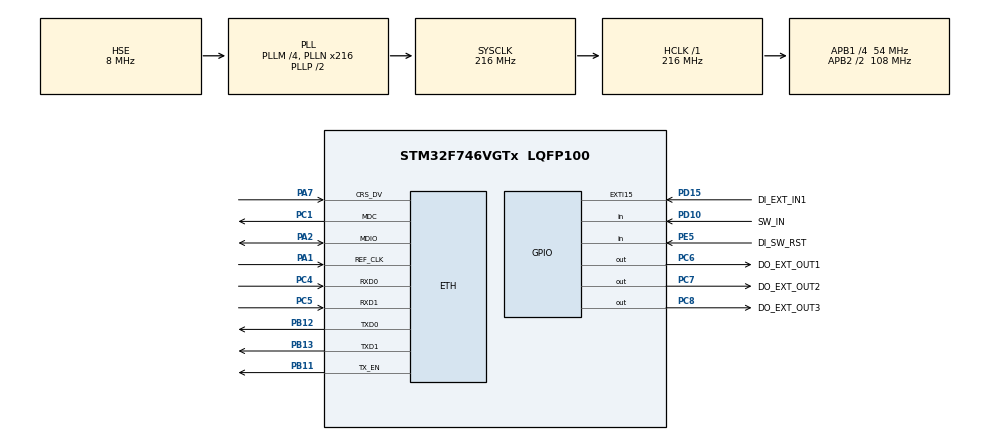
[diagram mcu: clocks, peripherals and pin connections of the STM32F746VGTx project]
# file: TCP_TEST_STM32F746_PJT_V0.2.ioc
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CORTEX_M7.default_mode_Activation=1
ETH.MediaInterface=HAL_ETH_RMII_MODE
FREERTOS.Tasks01=defaultTask,24,256,StartDefaultTask,Default,NULL,Dynamic,NULL,NULL;ETH_TASK,8,256,TCP_RX_DATA_TASK,As external,NULL,Dynamic,NULL,NULL
FREERTOS.configTOTAL_HEAP_SIZE=65535
FREERTOS.configUSE_NEWLIB_REENTRANT=1
LWIP.BSP.number=1
LWIP.GATEWAY_ADDRESS=192.168.000.001
LWIP.IP_ADDRESS=192.168.000.020
LWIP.LWIP_DHCP=0
LWIP.MEMP_NUM_TCP_SEG=15
LWIP.MEM_SIZE=8000
LWIP.NETMASK_ADDRESS=255.255.255.000
LWIP.PBUF_POOL_BUFSIZE=1482
LWIP.TCPIP_THREAD_PRIO=3
LWIP.TCP_MSS=1426
LWIP.TCP_SND_BUF=5000
LWIP.Version=v2.1.2_Cube
LWIP0.BSP.STBoard=false
LWIP0.BSP.api=BSP_COMPONENT_DRIVER
LWIP0.BSP.component=DP83848
LWIP0.BSP.instance=DP83848
LWIP0.BSP.name=Driver_PHY
LWIP0.BSP.semaphore=S_DP83848
LWIP0.BSP.solution=DP83848
Mcu.Family=STM32F7
Mcu.Name=STM32F746VGTx
Mcu.Package=LQFP100
NVIC.ETH_IRQn=true\:5\:0\:false\:false\:true\:true\:false\:true\:true
NVIC.PriorityGroup=NVIC_PRIORITYGROUP_4
NVIC.TIM1_UP_TIM10_IRQn=true\:15\:0\:false\:false\:true\:false\:false\:true\:true
NVIC.TimeBase=TIM1_UP_TIM10_IRQn
NVIC.TimeBaseIP=TIM1
PA1.Mode=RMII
PA1.Signal=ETH_REF_CLK
PA13.Mode=JTAG_4_pins
PA13.Signal=SYS_JTMS-SWDIO
PA14.Mode=JTAG_4_pins
PA14.Signal=SYS_JTCK-SWCLK
PA15.Mode=JTAG_4_pins
PA15.Signal=SYS_JTDI
PA2.Mode=RMII
PA2.Signal=ETH_MDIO
PA7.Mode=RMII
PA7.Signal=ETH_CRS_DV
PB11.Mode=RMII
PB11.Signal=ETH_TX_EN
PB12.Mode=RMII
PB12.Signal=ETH_TXD0
PB13.Mode=RMII
PB13.Signal=ETH_TXD1
PB3.Mode=JTAG_4_pins
PB3.Signal=SYS_JTDO-SWO
PC1.Mode=RMII
PC1.Signal=ETH_MDC
PC14/OSC32_IN.Mode=LSE-External-Oscillator
PC14/OSC32_IN.Signal=RCC_OSC32_IN
PC15/OSC32_OUT.Mode=LSE-External-Oscillator
PC15/OSC32_OUT.Signal=RCC_OSC32_OUT
PC4.Mode=RMII
PC4.Signal=ETH_RXD0
PC5.Mode=RMII
PC5.Signal=ETH_RXD1
PC6.GPIO_Label=DO_EXT_OUT1
PC6.Signal=GPIO_Output
PC7.GPIO_Label=DO_EXT_OUT2
PC7.Signal=GPIO_Output
PC8.GPIO_Label=DO_EXT_OUT3
PC8.Signal=GPIO_Output
PD10.GPIO_Label=SW_IN
PD10.Signal=GPIO_Input
PD15.GPIO_Label=DI_EXT_IN1
PD15.Signal=GPXTI15
PE5.GPIO_Label=DI_SW_RST
PE5.Signal=GPIO_Input
PH0/OSC_IN.Mode=HSE-External-Oscillator
PH0/OSC_IN.Signal=RCC_OSC_IN
PH1/OSC_OUT.Mode=HSE-External-Oscillator
PH1/OSC_OUT.Signal=RCC_OSC_OUT
ProjectManager.HeapSize=0x400
ProjectManager.StackSize=0x800
ProjectManager.TargetToolchain=STM32CubeIDE
RCC.AHBFreq_Value=216000000
RCC.APB1CLKDivider=RCC_HCLK_DIV4
RCC.APB1Freq_Value=54000000
RCC.APB1TimFreq_Value=108000000
RCC.APB2CLKDivider=RCC_HCLK_DIV2
RCC.APB2Freq_Value=108000000
RCC.APB2TimFreq_Value=216000000
RCC.CortexFreq_Value=216000000
RCC.HCLKFreq_Value=216000000
RCC.HSE_VALUE=8000000
RCC.HSI_VALUE=16000000
RCC.PLLM=4
RCC.PLLN=216
RCC.PLLSourceVirtual=RCC_PLLSOURCE_HSE
RCC.SYSCLKFreq_VALUE=216000000
RCC.SYSCLKSource=RCC_SYSCLKSOURCE_PLLCLK
RCC.USBFreq_Value=216000000
RCC.VCOOutputFreq_Value=432000000
VP_FREERTOS_VS_CMSIS_V2.Mode=CMSIS_V2
VP_LWIP_VS_Enabled.Mode=Enabled
VP_SYS_VS_tim1.Mode=TIM1
board=custom

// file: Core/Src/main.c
/* USER CODE BEGIN Header */
/**
  ******************************************************************************
  * @file           : main.c
  * @brief          : Main program body
  ******************************************************************************
  * @attention
  *
  * Copyright (c) 2024 STMicroelectronics.
  * All rights reserved.
  *
  * This software is licensed under terms that can be found in the LICENSE file
  * in the root directory of this software component.
  * If no LICENSE file comes with this software, it is provided AS-IS.
  *
  ******************************************************************************
  */
/* USER CODE END Header */
#include "main.h"
#include "cmsis_os.h"
#include "lwip.h"

/* USER CODE BEGIN Includes */
#include "../Source/TCP_TEST_STM32F746_FW.h"
/* USER CODE END Includes */

/* Definitions for defaultTask */
osThreadId_t defaultTaskHandle;
const osThreadAttr_t defaultTask_attributes = {
  .name = "defaultTask",
  .stack_size = 256 * 4,
  .priority = (osPriority_t) osPriorityNormal,
};
/* Definitions for ETH_TASK */
osThreadId_t ETH_TASKHandle;
const osThreadAttr_t ETH_TASK_attributes = {
  .name = "ETH_TASK",
  .stack_size = 256 * 4,
  .priority = (osPriority_t) osPriorityLow,
};

void SystemClock_Config(void);
static void MPU_Config(void);
static void MX_GPIO_Init(void);
void StartDefaultTask(void *argument);
extern void TCP_RX_DATA_TASK(void *argument);

int main(void)
{

  /* MPU Configuration--------------------------------------------------------*/
  MPU_Config();

  /* MCU Configuration--------------------------------------------------------*/

  /* Reset of all peripherals, Initializes the Flash interface and the Systick. */
  HAL_Init();

  /* Configure the system clock */
  SystemClock_Config();

  /* Initialize all configured peripherals */
  MX_GPIO_Init();

  /* Init scheduler */
  osKernelInitialize();

  /* Create the thread(s) */
  /* creation of defaultTask */
  defaultTaskHandle = osThreadNew(StartDefaultTask, NULL, &defaultTask_attributes);

  /* creation of ETH_TASK */
  ETH_TASKHandle = osThreadNew(TCP_RX_DATA_TASK, NULL, &ETH_TASK_attributes);

  /* Start scheduler */
  osKernelStart();

  /* We should never get here as control is now taken by the scheduler */

  /* Infinite loop */
  while (1)
  {

  }
}

void SystemClock_Config(void)
{
  RCC_OscInitTypeDef RCC_OscInitStruct = {0};
  RCC_ClkInitTypeDef RCC_ClkInitStruct = {0};

  /** Configure LSE Drive Capability
  */
  HAL_PWR_EnableBkUpAccess();

  /** Configure the main internal regulator output voltage
  */
  __HAL_RCC_PWR_CLK_ENABLE();
  __HAL_PWR_VOLTAGESCALING_CONFIG(PWR_REGULATOR_VOLTAGE_SCALE1);

  /** Initializes the RCC Oscillators according to the specified parameters
  * in the RCC_OscInitTypeDef structure.
  */
  RCC_OscInitStruct.OscillatorType = RCC_OSCILLATORTYPE_HSE;
  RCC_OscInitStruct.HSEState = RCC_HSE_ON;
  RCC_OscInitStruct.PLL.PLLState = RCC_PLL_ON;
  RCC_OscInitStruct.PLL.PLLSource = RCC_PLLSOURCE_HSE;
  RCC_OscInitStruct.PLL.PLLM = 4;
  RCC_OscInitStruct.PLL.PLLN = 216;
  RCC_OscInitStruct.PLL.PLLP = RCC_PLLP_DIV2;
  RCC_OscInitStruct.PLL.PLLQ = 2;
  if (HAL_RCC_OscConfig(&RCC_OscInitStruct) != HAL_OK)
  {
    Error_Handler();
  }

  /** Activate the Over-Drive mode
  */
  if (HAL_PWREx_EnableOverDrive() != HAL_OK)
  {
    Error_Handler();
  }

  /** Initializes the CPU, AHB and APB buses clocks
  */
  RCC_ClkInitStruct.ClockType = RCC_CLOCKTYPE_HCLK|RCC_CLOCKTYPE_SYSCLK
                              |RCC_CLOCKTYPE_PCLK1|RCC_CLOCKTYPE_PCLK2;
  RCC_ClkInitStruct.SYSCLKSource = RCC_SYSCLKSOURCE_PLLCLK;
  RCC_ClkInitStruct.AHBCLKDivider = RCC_SYSCLK_DIV1;
  RCC_ClkInitStruct.APB1CLKDivider = RCC_HCLK_DIV4;
  RCC_ClkInitStruct.APB2CLKDivider = RCC_HCLK_DIV2;

  if (HAL_RCC_ClockConfig(&RCC_ClkInitStruct, FLASH_LATENCY_7) != HAL_OK)
  {
    Error_Handler();
  }
}

static void MX_GPIO_Init(void)
{
  GPIO_InitTypeDef GPIO_InitStruct = {0};

  /* GPIO Ports Clock Enable */
  __HAL_RCC_GPIOE_CLK_ENABLE();
  __HAL_RCC_GPIOC_CLK_ENABLE();
  __HAL_RCC_GPIOH_CLK_ENABLE();
  __HAL_RCC_GPIOA_CLK_ENABLE();
  __HAL_RCC_GPIOB_CLK_ENABLE();
  __HAL_RCC_GPIOD_CLK_ENABLE();

  /*Configure GPIO pin Output Level */
  HAL_GPIO_WritePin(GPIOC, DO_EXT_OUT1_Pin|DO_EXT_OUT2_Pin|DO_EXT_OUT3_Pin, GPIO_PIN_RESET);

  /*Configure GPIO pin : DI_SW_RST_Pin */
  GPIO_InitStruct.Pin = DI_SW_RST_Pin;
  GPIO_InitStruct.Mode = GPIO_MODE_INPUT;
  GPIO_InitStruct.Pull = GPIO_NOPULL;
  HAL_GPIO_Init(DI_SW_RST_GPIO_Port, &GPIO_InitStruct);

  /*Configure GPIO pin : SW_IN_Pin */
  GPIO_InitStruct.Pin = SW_IN_Pin;
  GPIO_InitStruct.Mode = GPIO_MODE_INPUT;
  GPIO_InitStruct.Pull = GPIO_NOPULL;
  HAL_GPIO_Init(SW_IN_GPIO_Port, &GPIO_InitStruct);

  /*Configure GPIO pin : DI_EXT_IN1_Pin */
  GPIO_InitStruct.Pin = DI_EXT_IN1_Pin;
  GPIO_InitStruct.Mode = GPIO_MODE_IT_RISING;
  GPIO_InitStruct.Pull = GPIO_NOPULL;
  HAL_GPIO_Init(DI_EXT_IN1_GPIO_Port, &GPIO_InitStruct);

  /*Configure GPIO pins : DO_EXT_OUT1_Pin DO_EXT_OUT2_Pin DO_EXT_OUT3_Pin */
  GPIO_InitStruct.Pin = DO_EXT_OUT1_Pin|DO_EXT_OUT2_Pin|DO_EXT_OUT3_Pin;
  GPIO_InitStruct.Mode = GPIO_MODE_OUTPUT_PP;
  GPIO_InitStruct.Pull = GPIO_NOPULL;
  GPIO_InitStruct.Speed = GPIO_SPEED_FREQ_LOW;
  HAL_GPIO_Init(GPIOC, &GPIO_InitStruct);

}

/* USER CODE BEGIN 4 */
#if 0
/* USER CODE END 4 */

void StartDefaultTask(void *argument)
{
  /* init code for LWIP */
  MX_LWIP_Init();
  /* USER CODE BEGIN 5 */
#endif

/* USER CODE BEGIN Header_StartDefaultTask */
/**
* @brief  Function implementing the defaultTask thread.
* @param  argument: Not used
* @retval None
*/
/* USER CODE END Header_StartDefaultTask */

uint64_t MAIN_CNT = 0;

void StartDefaultTask(void *argument)
{
  /* init code for LWIP */
  MX_LWIP_Init();
  Modbus.u.Header.Alert = 0x00;
  Modbus.u.Header.Temperature = 2000;
  Modbus.u.Header.Humidity = 2000;
  Modbus.u.Header.WarningStandard = 10000;
  Modbus.u.Header.GUI = 2000;
  //Modbus.u.Header.Reset = 0x00;
	/* Infinite loop */
  for(;;)
  {
	osDelay(10);
    Task_Schedule();
    Task_Schedule_FreeRun();
	MAIN_CNT++;
  }
  /* USER CODE END 5 */
}

 /* MPU Configuration */

void MPU_Config(void)
{
  MPU_Region_InitTypeDef MPU_InitStruct = {0};

  /* Disables the MPU */
  HAL_MPU_Disable();

  /** Initializes and configures the Region and the memory to be protected
  */
  MPU_InitStruct.Enable = MPU_REGION_ENABLE;
  MPU_InitStruct.Number = MPU_REGION_NUMBER0;
  MPU_InitStruct.BaseAddress = 0x0;
  MPU_InitStruct.Size = MPU_REGION_SIZE_4GB;
  MPU_InitStruct.SubRegionDisable = 0x87;
  MPU_InitStruct.TypeExtField = MPU_TEX_LEVEL0;
  MPU_InitStruct.AccessPermission = MPU_REGION_NO_ACCESS;
  MPU_InitStruct.DisableExec = MPU_INSTRUCTION_ACCESS_DISABLE;
  MPU_InitStruct.IsShareable = MPU_ACCESS_SHAREABLE;
  MPU_InitStruct.IsCacheable = MPU_ACCESS_NOT_CACHEABLE;
  MPU_InitStruct.IsBufferable = MPU_ACCESS_NOT_BUFFERABLE;

  HAL_MPU_ConfigRegion(&MPU_InitStruct);
  /* Enables the MPU */
  HAL_MPU_Enable(MPU_PRIVILEGED_DEFAULT);

}

void HAL_TIM_PeriodElapsedCallback(TIM_HandleTypeDef *htim)
{
  if (htim->Instance == TIM1) {
    HAL_IncTick();
  }
}

void Error_Handler(void)
{
  __disable_irq();
  while (1)
  {
  }
}
